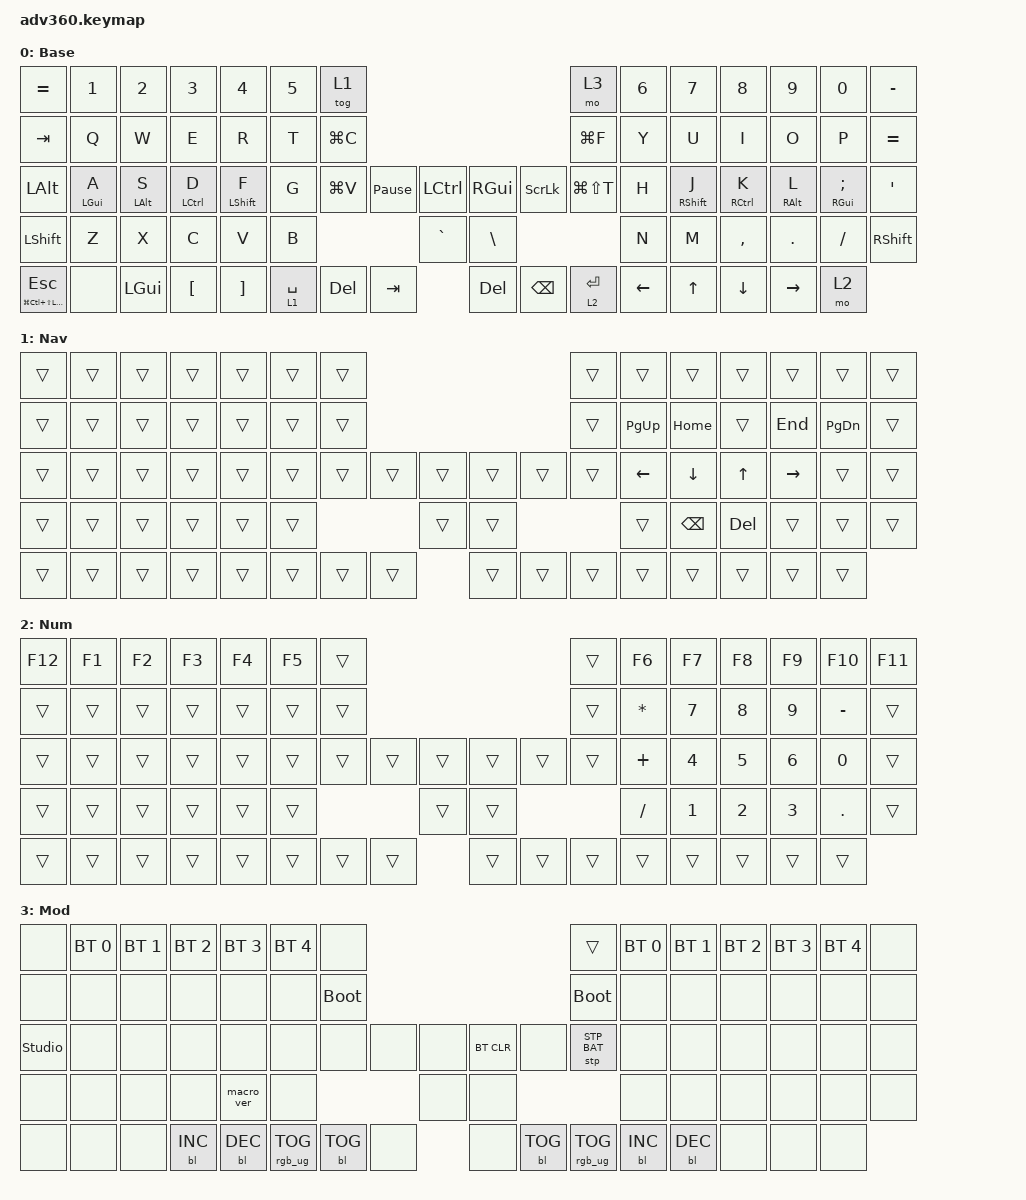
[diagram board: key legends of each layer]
/*
 * Copyright (c) 2020 The ZMK Contributors
 *
 * SPDX-License-Identifier: MIT
 */
/* THIS FILE WAS GENERATED!
 *
 * This file was generated automatically. You may or may not want to
 * edit it directly.
 */

#include <dt-bindings/zmk/stp.h>
#include <behaviors.dtsi>
#include <dt-bindings/zmk/backlight.h>
#include <dt-bindings/zmk/bt.h>
#include <dt-bindings/zmk/keys.h>
#include <dt-bindings/zmk/rgb.h>

/ {
    behaviors {
        #include "macros.dtsi"
      #include "version.dtsi"

        hml: home_row_left {
            compatible = "zmk,behavior-hold-tap";
            #binding-cells = <2>;
            flavor = "balanced";
            tapping-term-ms = <280>;
            quick-tap-ms = <175>;
            require-prior-idle-ms = <150>;
            bindings = <&kp>, <&kp>;
            hold-trigger-key-positions = <7 8 9 10 11 12 13 21 22 23 24 25 26 27 35 36 37 38 39 40 41 42 43 44 45 52 53 54 55 56 57 58 59 65 66 67 68 69 70 71 72 73 74 75>;
            hold-trigger-on-release;
        };
        hmr: home_row_right {
            compatible = "zmk,behavior-hold-tap";
            #binding-cells = <2>;
            flavor = "balanced";
            tapping-term-ms = <280>;
            quick-tap-ms = <175>;
            require-prior-idle-ms = <150>;
            bindings = <&kp>, <&kp>;
            hold-trigger-key-positions = <0 1 2 3 4 5 6 14 15 16 17 18 19 20 28 29 30 31 32 33 34 35 36 37 38 46 47 48 49 50 51 52 53 60 61 62 63 64 65 66 67 68 69 70>;
            hold-trigger-on-release;
        };
    };

    combos {
        compatible = "zmk,combos";
        combo_esc {
            timeout-ms = <50>;
            key-positions = <41 42>;
            bindings = <&kp ESC>;
            layers = <0>;
        };
    };

    keymap {
        compatible = "zmk,keymap";

        default_layer {
            display-name = "Base";
            bindings = <
&kp EQUAL      &kp N1     &kp N2    &kp N3    &kp N4    &kp N5  &tog 1                                                                           &mo 3          &kp N6  &kp N7    &kp N8        &kp N9    &kp N0     &kp MINUS
&kp TAB        &kp Q      &kp W     &kp E     &kp R     &kp T   &kp LG(C)                                                                        &kp LG(F)      &kp Y   &kp U     &kp I         &kp O     &kp P      &kp EQUAL
&kp LEFT_ALT   &hml LGUI A  &hml LALT S  &hml LCTRL D  &hml LSHFT F  &kp G   &kp LG(V)  &kp PAUSE_BREAK  &kp LEFT_CONTROL      &kp RGUI       &kp SCROLLLOCK  &kp LG(LS(T))  &kp H   &hmr RSHFT J  &hmr RCTRL K  &hmr RALT L  &hmr RGUI SEMI  &kp SQT
&kp LSHFT      &kp Z      &kp X     &kp C     &kp V     &kp B                               &kp GRAVE             &kp BSLH                                   &kp N   &kp M     &kp COMMA     &kp DOT   &kp FSLH   &kp RSHFT
&mt LG(LC(LS(LALT))) ESC   &none    &kp LGUI  &kp LBKT  &kp RBKT          &lt 1 SPACE  &kp DEL        &kp TAB               &kp DEL        &kp BACKSPACE   &lt 2 ENTER            &kp LEFT  &kp UP_ARROW  &kp DOWN  &kp RIGHT  &mo 2
            >;
        };

        nav {
            display-name = "Nav";
            bindings = <
&trans  &trans  &trans  &trans  &trans  &trans  &trans                                                        &trans  &trans      &trans    &trans  &trans     &trans     &trans
&trans  &trans  &trans  &trans  &trans  &trans  &trans                                                        &trans  &kp PG_UP   &kp HOME  &trans  &kp END    &kp PG_DN  &trans
&trans  &trans  &trans  &trans  &trans  &trans  &trans  &trans  &trans      &trans  &trans                    &trans  &kp LEFT    &kp DOWN  &kp UP  &kp RIGHT  &trans     &trans
&trans  &trans  &trans  &trans  &trans  &trans                  &trans      &trans                                    &trans      &kp BSPC  &kp DEL &trans     &trans     &trans
&trans  &trans  &trans  &trans  &trans          &trans  &trans  &trans      &trans  &trans  &trans                    &trans      &trans    &trans  &trans     &trans
            >;
        };

        num {
            display-name = "Num";
            bindings = <
&kp F12  &kp F1  &kp F2  &kp F3  &kp F4  &kp F5  &trans                                                        &trans  &kp F6      &kp F7  &kp F8  &kp F9   &kp F10    &kp F11
&trans   &trans  &trans  &trans  &trans  &trans  &trans                                                        &trans  &kp STAR    &kp N7  &kp N8  &kp N9   &kp MINUS  &trans
&trans   &trans  &trans  &trans  &trans  &trans  &trans  &trans  &trans      &trans  &trans                    &trans  &kp PLUS    &kp N4  &kp N5  &kp N6   &kp N0     &trans
&trans   &trans  &trans  &trans  &trans  &trans                  &trans      &trans                                    &kp FSLH    &kp N1  &kp N2  &kp N3   &kp DOT    &trans
&trans   &trans  &trans  &trans  &trans          &trans  &trans  &trans      &trans  &trans  &trans                    &trans      &trans  &trans  &trans   &trans
            >;
        };

        mod {
            display-name = "Mod";
            bindings = <
&none           &bt BT_SEL 0  &bt BT_SEL 1  &bt BT_SEL 2  &bt BT_SEL 3  &bt BT_SEL 4  &none                                                           &trans           &bt BT_SEL 0  &bt BT_SEL 1  &bt BT_SEL 2  &bt BT_SEL 3  &bt BT_SEL 4  &none
&none           &none         &none         &none         &none         &none         &bootloader                                                     &bootloader      &none         &none         &none         &none         &none         &none
&studio_unlock  &none         &none         &none         &none         &none         &none            &none       &none      &bt BT_CLR  &none       &stp STP_BAT     &none         &none         &none         &none         &none         &none
&none           &none         &none         &none         &macro_ver    &none                                      &none      &none                                    &none         &none         &none         &none         &none         &none
&none           &none         &none         &bl BL_INC    &bl BL_DEC                  &rgb_ug RGB_TOG  &bl BL_TOG  &none      &none       &bl BL_TOG  &rgb_ug RGB_TOG                &bl BL_INC    &bl BL_DEC    &none         &none         &none
            >;
        };

        extra1 {
            display-name = "Red";
            status = "reserved";
        };

        extra2 {
            display-name = "Purple";
            status = "reserved";
        };

        extra3 {
            display-name = "Cyan";
            status = "reserved";
        };

        extra4 {
            display-name = "Yellow";
            status = "reserved";
        };
    };
};
